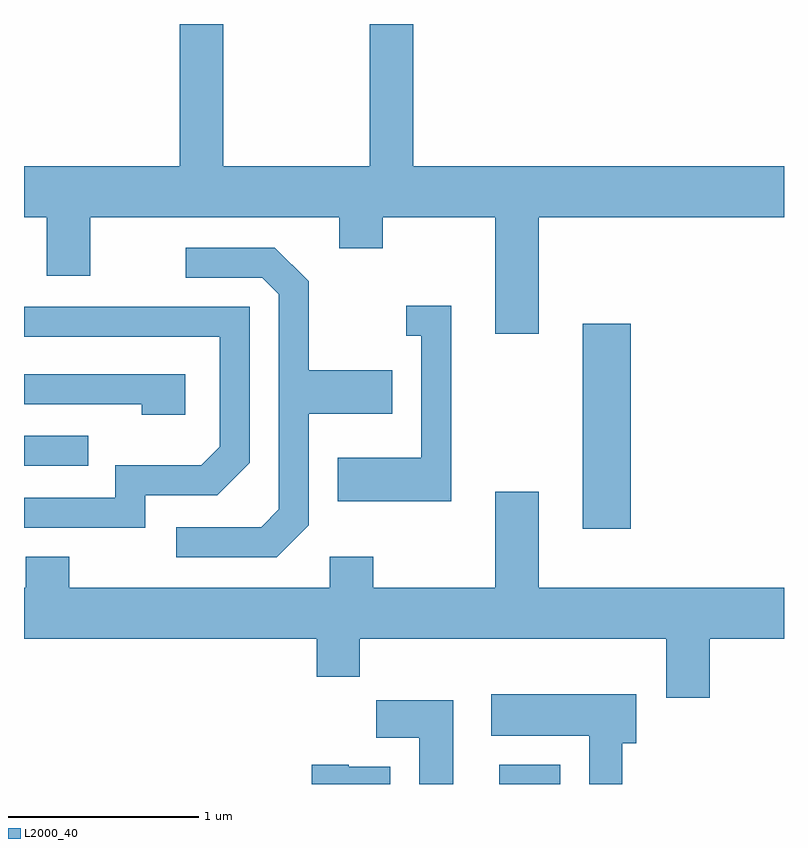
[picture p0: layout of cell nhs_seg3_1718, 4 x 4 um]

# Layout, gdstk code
import gdstk
lib = gdstk.Library(unit=1e-6, precision=1e-09)
def R(c, l, rs):  # rectangles x0, y0, x1, y1
    for r in rs: c.add(gdstk.rectangle(r[:2], r[2:], *l))
def P(c, l, *ps):  # polygons
    for p in ps: c.add(gdstk.Polygon(p, *l))
L2000_40 = (2000, 40)

nhs_seg3_1718 = lib.new_cell('nhs_seg3_1718')
R(nhs_seg3_1718, L2000_40, [(238.111,1151.892,238.434,1151.994), (238.551,1153.236,238.804,1154.314), (235.611,1153.566,235.948,1153.724)])
P(nhs_seg3_1718, L2000_40, [(237.431,1155.144),(236.659,1155.144),(236.659,1155.892),(236.431,1155.892),(236.431,1155.144),(235.611,1155.144),(235.611,1154.876),(235.731,1154.876),(235.731,1154.566),(235.959,1154.566),(235.959,1154.876),(237.271,1154.876),(237.271,1154.711),(237.499,1154.711),(237.499,1154.876),(238.091,1154.876),(238.091,1154.261),(238.319,1154.261),(238.319,1154.876),(239.611,1154.876),(239.611,1155.144),(237.659,1155.144),(237.659,1155.892),(237.431,1155.892)],
  [(237.109,1153.254),(237.109,1153.841),(237.549,1153.841),(237.549,1154.069),(237.109,1154.069),(237.109,1154.537),(236.932,1154.714),(236.463,1154.714),(236.463,1154.556),(236.864,1154.556),(236.951,1154.469),(236.951,1153.337),(236.859,1153.244),(236.413,1153.244),(236.413,1153.086),(236.942,1153.086)],
  [(237.859,1154.409),(237.623,1154.409),(237.623,1154.251),(237.701,1154.251),(237.701,1153.609),(237.261,1153.609),(237.261,1153.381),(237.859,1153.381)],
  [(236.249,1153.411),(236.627,1153.411),(236.799,1153.584),(236.799,1154.404),(235.611,1154.404),(235.611,1154.246),(236.641,1154.246),(236.641,1153.667),(236.544,1153.569),(236.091,1153.569),(236.091,1153.399),(235.611,1153.399),(235.611,1153.241),(236.249,1153.241)],
  [(236.459,1154.049),(235.611,1154.049),(235.611,1153.891),(236.231,1153.891),(236.231,1153.836),(236.459,1153.836)],
  [(239.219,1152.656),(239.611,1152.656),(239.611,1152.924),(238.319,1152.924),(238.319,1153.429),(238.091,1153.429),(238.091,1152.924),(237.449,1152.924),(237.449,1153.089),(237.221,1153.089),(237.221,1152.924),(235.849,1152.924),(235.849,1153.089),(235.621,1153.089),(235.621,1152.924),(235.611,1152.924),(235.611,1152.656),(237.151,1152.656),(237.151,1152.456),(237.379,1152.456),(237.379,1152.656),(238.991,1152.656),(238.991,1152.346),(239.219,1152.346)],
  [(238.759,1152.106),(238.834,1152.106),(238.834,1152.364),(238.071,1152.364),(238.071,1152.146),(238.586,1152.146),(238.586,1151.892),(238.759,1151.892)],
  [(237.869,1152.334),(237.466,1152.334),(237.466,1152.136),(237.691,1152.136),(237.691,1151.892),(237.869,1151.892)],
  [(237.539,1151.984),(237.32,1151.984),(237.32,1151.994),(237.126,1151.994),(237.126,1151.892),(237.539,1151.892)])

lib.write_gds('nhs_seg3_1718.gds')
